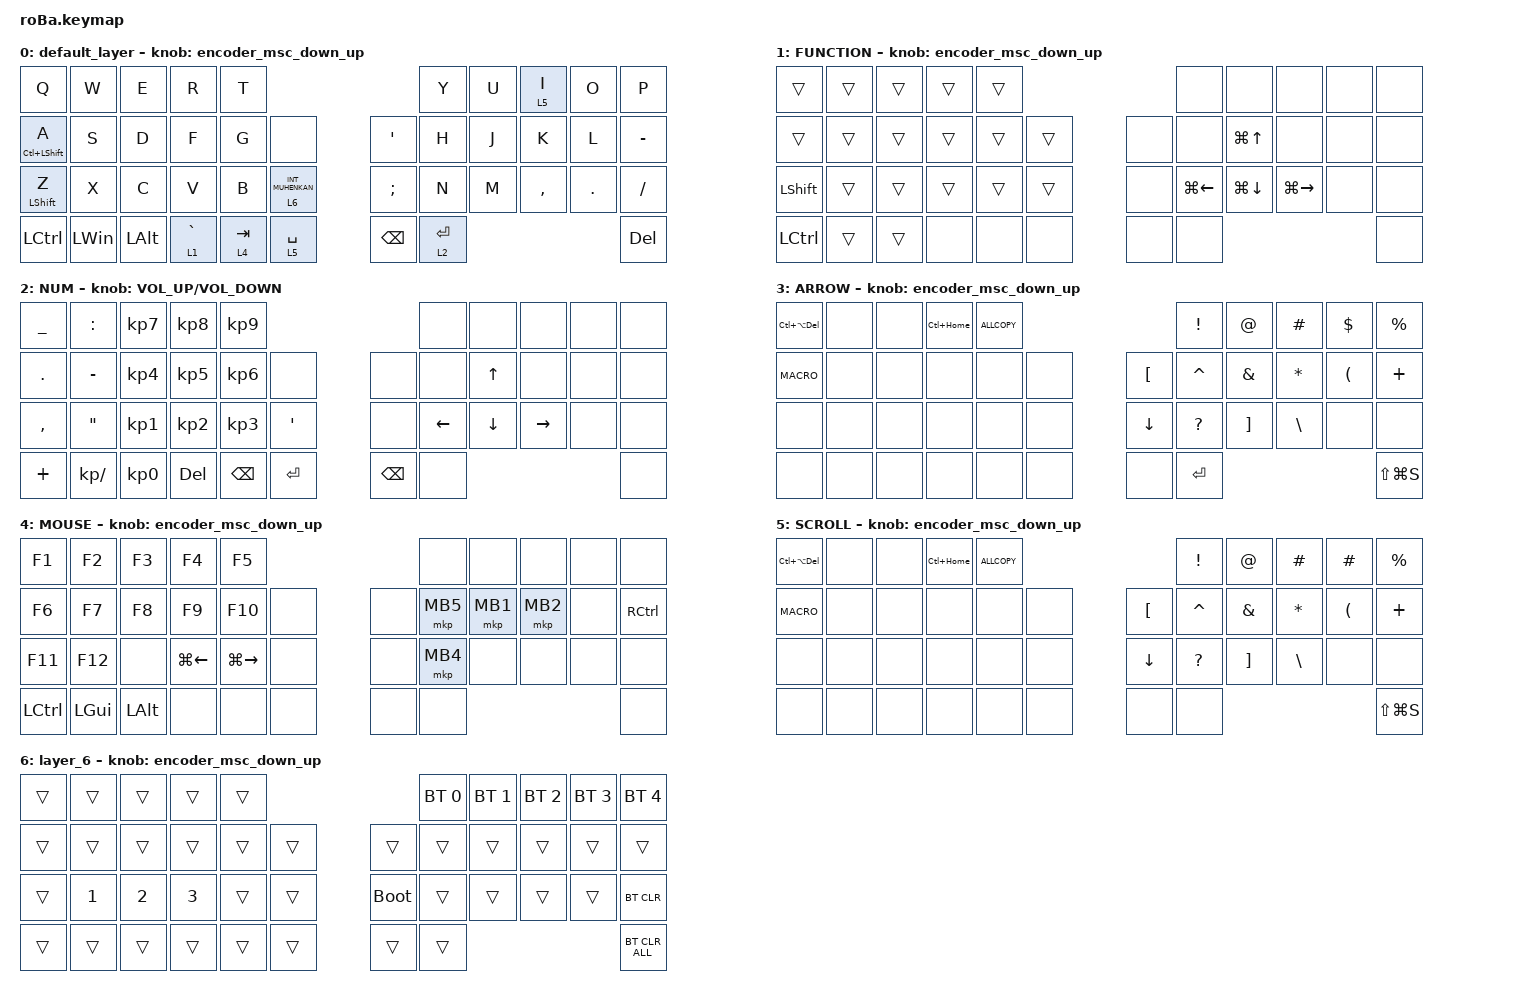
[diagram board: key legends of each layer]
// OS設定を日本語キーボードのまま使用するための変換定義

#define JP_DQUOTE       AT                // "
#define JP_AMPERSAND    CARET             // &
#define JP_QUOTE        AMPERSAND         // '
#define JP_EQUAL        UNDER             // =
#define JP_CARET        EQUAL             // ^
#define JP_YEN          0x89              // ¥
#define JP_PLUS         COLON             // +
#define JP_TILDE        PLUS              // ~
#define JP_PIPE         LS(0x89)          // |
#define JP_AT           LEFT_BRACKET      // @
#define JP_COLON        SINGLE_QUOTE      // :
#define JP_ASTERISK     DOUBLE_QUOTES     // *
#define JP_BACKQUOTE    LEFT_BRACE        // `
#define JP_UNDERSCORE   LS(0x87)          // _
#define JP_LBRACKET     RIGHT_BRACKET     // [
#define JP_RBRACKET     BACKSLASH         // ]
#define JP_LPAREN       ASTERISK          // (
#define JP_RPAREN       LEFT_PARENTHESIS  // )
#define JP_LBRACE       RIGHT_BRACE       // {
#define JP_RBRACE       PIPE              // }
#define JP_KANA         LANGUAGE_1        // かな
#define JP_EISU         LANGUAGE_2        // 英数
#define JP_HANZEN       GRAVE             // 半角/全角

#include <behaviors.dtsi>
#include <dt-bindings/zmk/bt.h>
#include <dt-bindings/zmk/keys.h>
#include <dt-bindings/zmk/pointing.h>

// #includeのあとのあたりにスクロール量変更の定義を追記

#define ZMK_POINTING_DEFAULT_SCRL_VAL 80

&mt {
    flavor = "balanced";
    quick-tap-ms = <0>;
};

&trackball {
    // automouse-layer = <4>;

    scroll-layers = <5>;

    // arrows {
    //     layers = <3>;
    //     bindings =
    //         <&kp RIGHT_ARROW>,
    //         <&kp LEFT_ARROW>,
    //         <&kp UP_ARROW>,
    //         <&kp DOWN_ARROW>;
    //     tick = <10>;
    //     wait-ms = <5>;
    //     tap-ms = <5>;
    // };
};

/ {
    combos { compatible = "zmk,combos"; };

    macros {
        to_layer_0: to_layer_0 {
            compatible = "zmk,behavior-macro-one-param";
            #binding-cells = <1>;
            bindings = <&to 0 &macro_param_1to1 &kp MACRO_PLACEHOLDER>;
            label = "TO_LAYER_0";
        };

        MACRO: pass {
            compatible = "zmk,behavior-macro";
            #binding-cells = <0>;
            bindings = <&kp KP_NUMBER_2 &kp LS(A) &kp KP_NUMBER_3 &kp KP_NUMBER_0 &kp KP_NUMBER_1 &kp A &kp KP_NUMBER_2 &kp KP_NUMBER_9 &kp KP_NUMBER_1 &kp KP_NUMBER_8 &kp KP_NUMBER_4 &kp KP_NUMBER_1>;
            label = "PASS";
        };

        ALLCOPY: ALLCOPY {
            compatible = "zmk,behavior-macro";
            #binding-cells = <0>;
            bindings = <&kp LC(LS(RIGHT_ARROW)) &kp LC(LS(DOWN_ARROW))>;
            label = "ALLCOPY";
        };
    };

    behaviors {
        lt_to_layer_0: lt_to_layer_0 {
            compatible = "zmk,behavior-hold-tap";
            label = "LAYER_TAP_TO_0";
            bindings = <&mo>, <&to_layer_0>;

            #binding-cells = <2>;
            tapping-term-ms = <200>;
        };

        // combosやmacrosと同じ階層に以下のbihaviorsを追記
        // スクロール方向を逆にしたい場合は <&msc SCRL_DOWN> と <&msc SCRL_UP> を入れ替えてください

        encoder_msc_down_up: encoder_msc_down_up {
            compatible = "zmk,behavior-sensor-rotate";
            label = "ENCODER_MSC_DOWN_UP";
            #sensor-binding-cells = <0>;
            bindings = <&msc SCRL_DOWN>, <&msc SCRL_UP>;

            tap-ms = <20>;
        };
    };

    keymap {
        compatible = "zmk,keymap";

        default_layer {
            bindings = <
&kp Q                 &kp W         &kp E         &kp R                   &kp T                                                           &kp Y        &kp U  &lt 5 I    &kp O    &kp P
&mt LC(LEFT_SHIFT) A  &kp S         &kp D         &kp F                   &kp G      &none                              &kp SINGLE_QUOTE  &kp H        &kp J  &kp K      &kp L    &kp MINUS
&mt LEFT_SHIFT Z      &kp X         &kp C         &kp V                   &kp B      &lt_to_layer_0 6 INT_MUHENKAN      &kp SEMICOLON     &kp N        &kp M  &kp COMMA  &kp DOT  &kp SLASH
&kp LCTRL             &kp LEFT_WIN  &kp LEFT_ALT  &lt_to_layer_0 1 GRAVE  &lt 4 TAB  &lt_to_layer_0 5 SPACE             &kp BACKSPACE     &lt 2 ENTER                             &kp DEL
            >;

            sensor-bindings = <&encoder_msc_down_up>;
        };

        FUNCTION {
            bindings = <
&trans            &trans  &trans  &trans  &trans                     &none               &none               &none                &none  &none
&trans            &trans  &trans  &trans  &trans  &trans      &none  &none               &kp LG(UP_ARROW)    &none                &none  &none
&kp LEFT_SHIFT    &trans  &trans  &trans  &trans  &trans      &none  &kp LG(LEFT_ARROW)  &kp LG(DOWN_ARROW)  &kp LG(RIGHT_ARROW)  &none  &none
&kp LEFT_CONTROL  &trans  &trans  &none   &none   &none       &none  &none                                                               &none
            >;

            sensor-bindings = <&encoder_msc_down_up>;
        };

        NUM {
            bindings = <
&kp UNDER   &kp COLON          &kp KP_NUMBER_7  &kp KP_NUMBER_8  &kp KP_NUMBER_9                                       &none           &none           &none            &none  &none
&kp PERIOD  &kp MINUS          &kp KP_NUMBER_4  &kp KP_NUMBER_5  &kp KP_NUMBER_6  &none                 &none          &none           &kp UP_ARROW    &none            &none  &none
&kp COMMA   &kp DOUBLE_QUOTES  &kp KP_NUMBER_1  &kp KP_NUMBER_2  &kp KP_NUMBER_3  &kp SINGLE_QUOTE      &none          &kp LEFT_ARROW  &kp DOWN_ARROW  &kp RIGHT_ARROW  &none  &none
&kp PLUS    &kp KP_SLASH       &kp KP_NUMBER_0  &kp DEL          &kp BACKSPACE    &kp ENTER             &kp BACKSPACE  &none                                                   &none
            >;

            sensor-bindings = <&inc_dec_kp C_VOLUME_UP C_VOLUME_DOWN>;
        };

        ARROW {
            bindings = <
&kp LC(LA(DELETE))  &none  &none  &kp LC(HOME)  &ALLCOPY                               &kp EXCLAMATION  &kp AT             &kp HASH       &kp DOLLAR            &kp PERCENT
&MACRO              &none  &none  &none         &none     &none      &kp LEFT_BRACKET  &kp CARET        &kp AMPERSAND      &kp ASTERISK   &kp LEFT_PARENTHESIS  &kp PLUS
&none               &none  &none  &none         &none     &none      &kp DOWN_ARROW    &kp QUESTION     &kp RIGHT_BRACKET  &kp BACKSLASH  &none                 &none
&none               &none  &none  &none         &none     &none      &none             &kp ENTER                                                                &kp LS(LG(S))
            >;

            sensor-bindings = <&encoder_msc_down_up>;
        };

        MOUSE {
            bindings = <
&kp F1            &kp F2        &kp F3        &kp F4              &kp F5                                 &none     &none     &none     &none  &none
&kp F6            &kp F7        &kp F8        &kp F9              &kp F10              &none      &none  &mkp MB5  &mkp MB1  &mkp MB2  &none  &kp RIGHT_CONTROL
&kp F11           &kp F12       &none         &kp LG(LEFT_ARROW)  &kp LG(RIGHT_ARROW)  &none      &none  &mkp MB4  &none     &none     &none  &none
&kp LEFT_CONTROL  &kp LEFT_GUI  &kp LEFT_ALT  &none               &none                &none      &none  &none                                &none
            >;

            sensor-bindings = <&encoder_msc_down_up>;
        };

        SCROLL {
            bindings = <
&kp LC(LA(DELETE))  &none  &none  &kp LC(HOME)  &ALLCOPY                               &kp EXCLAMATION  &kp AT_SIGN        &kp HASH       &kp HASH              &kp PERCENT
&MACRO              &none  &none  &none         &none     &none      &kp LEFT_BRACKET  &kp CARET        &kp AMPERSAND      &kp ASTERISK   &kp LEFT_PARENTHESIS  &kp PLUS
&none               &none  &none  &none         &none     &none      &kp DOWN_ARROW    &kp QUESTION     &kp RIGHT_BRACKET  &kp BACKSLASH  &none                 &none
&none               &none  &none  &none         &none     &none      &none             &none                                                                    &kp LS(LG(S))
            >;

            sensor-bindings = <&encoder_msc_down_up>;
        };

        layer_6 {
            bindings = <
&trans  &trans        &trans        &trans        &trans                           &bt BT_SEL 0  &bt BT_SEL 1  &bt BT_SEL 2  &bt BT_SEL 3  &bt BT_SEL 4
&trans  &trans        &trans        &trans        &trans  &trans      &trans       &trans        &trans        &trans        &trans        &trans
&trans  &kp NUMBER_1  &kp NUMBER_2  &kp NUMBER_3  &trans  &trans      &bootloader  &trans        &trans        &trans        &trans        &bt BT_CLR
&trans  &trans        &trans        &trans        &trans  &trans      &trans       &trans                                                  &bt BT_CLR_ALL
            >;

            sensor-bindings = <&encoder_msc_down_up>;
        };
    };
};
